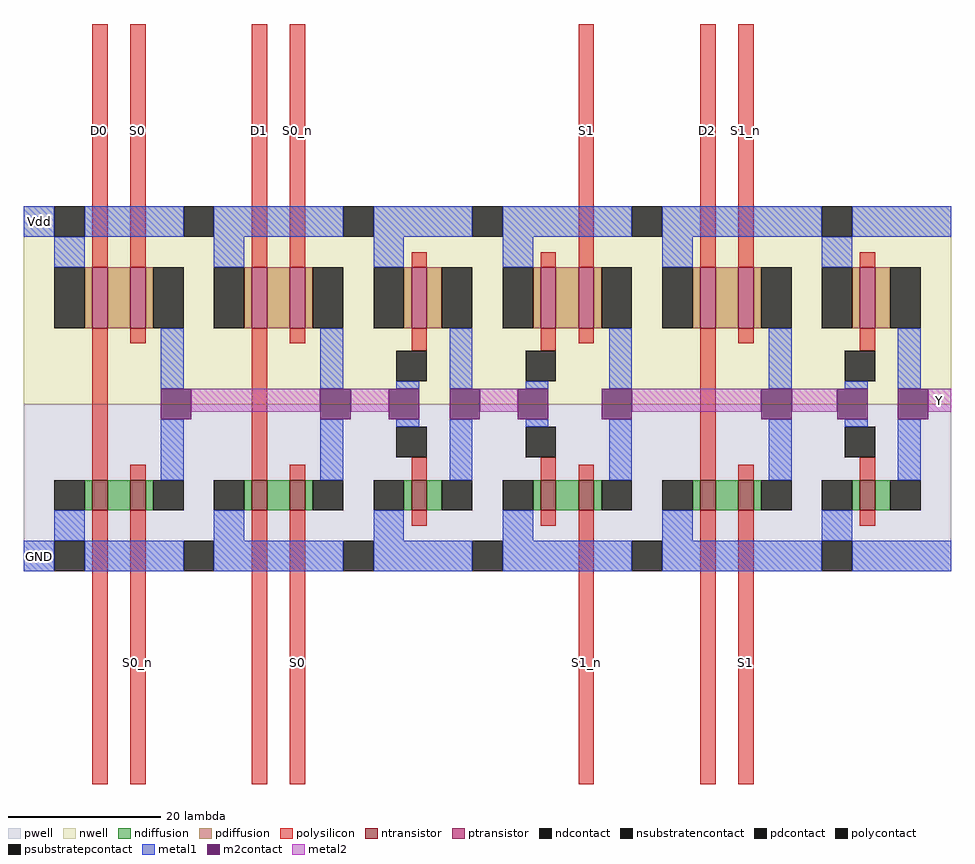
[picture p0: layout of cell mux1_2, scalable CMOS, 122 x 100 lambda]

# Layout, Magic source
magic
tech scmos
<< pwell >>
rect -38 28 84 50
<< nwell >>
rect -38 50 84 76
<< polysilicon >>
rect -29 68 -27 100
rect -24 68 -22 100
rect -8 68 -6 100
rect -3 68 -1 100
rect 13 68 15 70
rect 30 68 32 70
rect 35 68 37 100
rect 51 68 53 100
rect 56 68 58 100
rect 72 68 74 70
rect -29 40 -27 60
rect -24 58 -22 60
rect -24 40 -22 42
rect -8 40 -6 60
rect -3 58 -1 60
rect 13 57 15 60
rect 30 57 32 60
rect 35 58 37 60
rect -3 40 -1 42
rect 13 40 15 43
rect 30 40 32 43
rect 35 40 37 42
rect 51 40 53 60
rect 56 58 58 60
rect 72 57 74 60
rect 56 40 58 42
rect 72 40 74 43
rect -29 0 -27 36
rect -24 0 -22 36
rect -8 0 -6 36
rect -3 0 -1 36
rect 13 34 15 36
rect 30 34 32 36
rect 35 0 37 36
rect 51 0 53 36
rect 56 0 58 36
rect 72 34 74 36
<< ndiffusion >>
rect -30 36 -29 40
rect -27 36 -24 40
rect -22 36 -21 40
rect -9 36 -8 40
rect -6 36 -3 40
rect -1 36 0 40
rect 12 36 13 40
rect 15 36 17 40
rect 29 36 30 40
rect 32 36 35 40
rect 37 36 38 40
rect 50 36 51 40
rect 53 36 56 40
rect 58 36 59 40
rect 71 36 72 40
rect 74 36 76 40
<< pdiffusion >>
rect -30 60 -29 68
rect -27 60 -24 68
rect -22 60 -21 68
rect -9 60 -8 68
rect -6 60 -3 68
rect -1 60 0 68
rect 12 60 13 68
rect 15 60 17 68
rect 29 60 30 68
rect 32 60 35 68
rect 37 60 38 68
rect 50 60 51 68
rect 53 60 56 68
rect 58 60 59 68
rect 71 60 72 68
rect 74 60 76 68
<< metal1 >>
rect -38 72 -34 76
rect -30 72 -17 76
rect -13 72 4 76
rect 8 72 21 76
rect 25 72 42 76
rect 46 72 67 76
rect 71 72 84 76
rect -34 68 -30 72
rect -13 68 -9 72
rect 8 68 12 72
rect 25 68 29 72
rect 46 68 50 72
rect 67 68 71 72
rect -20 52 -17 60
rect 1 52 4 60
rect 11 52 14 53
rect -20 40 -17 48
rect 1 40 4 48
rect 11 47 14 48
rect 18 52 21 60
rect 28 52 31 53
rect 39 52 42 60
rect 60 52 63 60
rect 70 52 73 53
rect 18 40 21 48
rect 28 47 31 48
rect 39 40 42 48
rect 60 40 63 48
rect 70 47 73 48
rect 77 52 80 60
rect 77 40 80 48
rect -34 32 -30 36
rect -13 32 -9 36
rect 8 32 12 36
rect 25 32 29 36
rect 46 32 50 36
rect 67 32 71 36
rect -38 28 -34 32
rect -30 28 -17 32
rect -13 28 4 32
rect 8 28 21 32
rect 25 28 42 32
rect 46 28 67 32
rect 71 28 84 32
<< metal2 >>
rect -16 49 1 52
rect 5 49 10 52
rect 22 49 27 52
rect 42 49 59 52
rect 63 49 69 52
rect 81 49 84 52
<< ntransistor >>
rect -29 36 -27 40
rect -24 36 -22 40
rect -8 36 -6 40
rect -3 36 -1 40
rect 13 36 15 40
rect 30 36 32 40
rect 35 36 37 40
rect 51 36 53 40
rect 56 36 58 40
rect 72 36 74 40
<< ptransistor >>
rect -29 60 -27 68
rect -24 60 -22 68
rect -8 60 -6 68
rect -3 60 -1 68
rect 13 60 15 68
rect 30 60 32 68
rect 35 60 37 68
rect 51 60 53 68
rect 56 60 58 68
rect 72 60 74 68
<< polycontact >>
rect 11 53 15 57
rect 28 53 32 57
rect 11 43 15 47
rect 28 43 32 47
rect 70 53 74 57
rect 70 43 74 47
<< ndcontact >>
rect -34 36 -30 40
rect -21 36 -17 40
rect -13 36 -9 40
rect 0 36 4 40
rect 8 36 12 40
rect 17 36 21 40
rect 25 36 29 40
rect 38 36 42 40
rect 46 36 50 40
rect 59 36 63 40
rect 67 36 71 40
rect 76 36 80 40
<< pdcontact >>
rect -34 60 -30 68
rect -21 60 -17 68
rect -13 60 -9 68
rect 0 60 4 68
rect 8 60 12 68
rect 17 60 21 68
rect 25 60 29 68
rect 38 60 42 68
rect 46 60 50 68
rect 59 60 63 68
rect 67 60 71 68
rect 76 60 80 68
<< m2contact >>
rect -20 48 -16 52
rect 1 48 5 52
rect 10 48 14 52
rect 18 48 22 52
rect 27 48 31 52
rect 38 48 42 52
rect 59 48 63 52
rect 69 48 73 52
rect 77 48 81 52
<< psubstratepcontact >>
rect -34 28 -30 32
rect -17 28 -13 32
rect 4 28 8 32
rect 21 28 25 32
rect 42 28 46 32
rect 67 28 71 32
<< nsubstratencontact >>
rect -34 72 -30 76
rect -17 72 -13 76
rect 4 72 8 76
rect 21 72 25 76
rect 42 72 46 76
rect 67 72 71 76
<< labels >>
rlabel metal2 81 49 84 52 3 Y
rlabel polysilicon -29 72 -27 100 1 D0
rlabel polysilicon -24 72 -22 100 1 S0
rlabel polysilicon -24 0 -22 32 5 S0_n
rlabel polysilicon -8 72 -6 100 1 D1
rlabel polysilicon -3 72 -1 100 1 S0_n
rlabel polysilicon -3 0 -1 32 5 S0
rlabel polysilicon 35 72 37 100 1 S1
rlabel polysilicon 51 72 53 100 1 D2
rlabel polysilicon 56 72 58 100 1 S1_n
rlabel polysilicon 35 0 37 32 5 S1_n
rlabel polysilicon 56 0 58 32 5 S1
rlabel metal1 -38 28 -34 32 5 GND
rlabel metal1 -38 72 -34 76 1 Vdd
<< end >>
